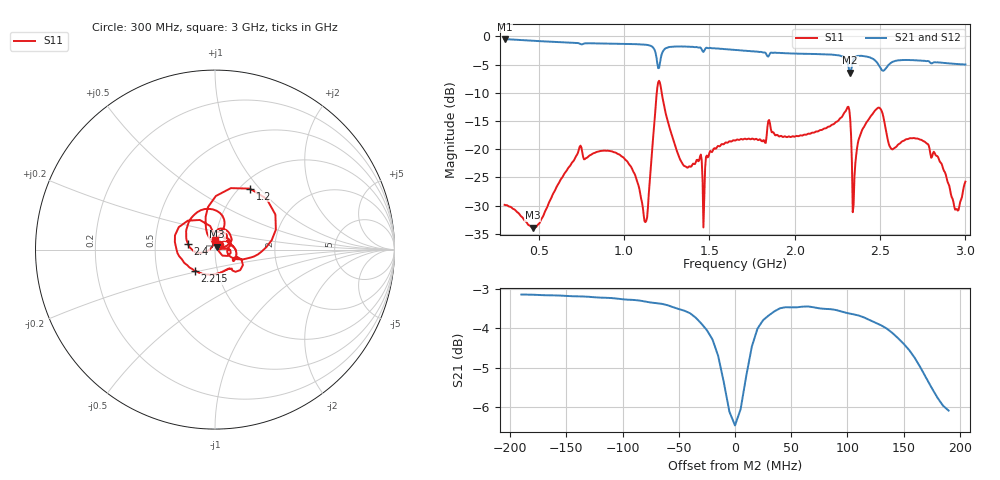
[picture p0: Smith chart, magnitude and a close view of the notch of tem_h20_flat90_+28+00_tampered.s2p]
! tem_h20_flat90_+28+00_tampered
! simulated by sim/fixtures_fdtd.py (S12 = S21, S22 not computed)
# HZ S RI R 50
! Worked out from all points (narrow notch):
!   541 points, 300 MHz to 3 GHz, reference 50 ohm
!   highest |S21| = -0.49 dB at 300 MHz (marker M1); lowest = -6.5 dB at 2.325 GHz (marker M2)
!   notch at M2: 3.9 dB deep, 32 MHz wide at half that depth
!   lowest |S11| = -33.9 dB at 465 MHz (marker M3), VSWR 1.04, Z = 51.1 + j1.72 ohm
!   |S11| at or under -10 dB: start of sweep to 1.192 GHz; 1.221 GHz to end of sweep
!   |S22| runs from - to - dB; largest |S21 - S12| = 0
!   S11 on the Smith chart (normalised r, x): 300 MHz: 1.04, +0.05; 1.2 GHz: 1.11, +0.89; 2.215 GHz: 0.78, -0.19; 2.4 GHz: 0.74, +0.04; 3 GHz: 1.00, +0.10
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3e8  0.0219 0.0234  0.0429 -0.9446  0.0429 -0.9446  0 0
4.65e8  0.0111 0.0168  -0.6331 -0.6585  -0.6331 -0.6585  0 0
6.1e8  0.00198 0.0477  -0.8861 -0.0895  -0.8861 -0.0895  0 0
7.5e8  0.0669 0.0786  -0.711 0.4628  -0.711 0.4628  0 0
9.45e8  0.0864 0.0359  -0.039 0.8588  -0.039 0.8588  0 0
1.125e9  0.0137 0.0179  0.6598 0.5246  0.6598 0.5246  0 0
1.2e9  0.195 0.3397  0.5017 0.1454  0.5017 0.1454  0 0
1.305e9  0.0912 -0.043  0.8107 -0.057  0.8107 -0.057  0 0
1.465e9  0.0191 -0.00661  0.4585 -0.5652  0.4585 -0.5652  0 0
1.49e9  0.0799 0.0277  0.4202 -0.6649  0.4202 -0.6649  0 0
1.65e9  0.1176 -0.0185  -0.1839 -0.7346  -0.1839 -0.7346  0 0
1.89e9  0.0824 -0.1037  -0.7037 -0.1261  -0.7037 -0.1261  0 0
2.1e9  -0.0112 -0.1391  -0.4557 0.5288  -0.4557 0.5288  0 0
2.215e9  -0.1131 -0.118  -0.0765 0.6848  -0.0765 0.6848  0 0
2.325e9  -0.0847 0.1651  0.1809 0.4393  0.1809 0.4393  0 0
2.345e9  -0.0319 -0.00275  0.2118 0.5936  0.2118 0.5936  0 0
2.4e9  -0.1499 0.0296  0.4674 0.4781  0.4674 0.4781  0 0
2.495e9  -0.0582 0.2258  0.5344 0.1111  0.5344 0.1111  0 0
2.55e9  0.038 0.106  0.5483 0.1072  0.5483 0.1072  0 0
2.78e9  0.092 0.0619  0.2762 -0.5377  0.2762 -0.5377  0 0
2.945e9  0.0199 0.0216  -0.2087 -0.5293  -0.2087 -0.5293  0 0
3e9  0.00029 0.0515  -0.3474 -0.4423  -0.3474 -0.4423  0 0
